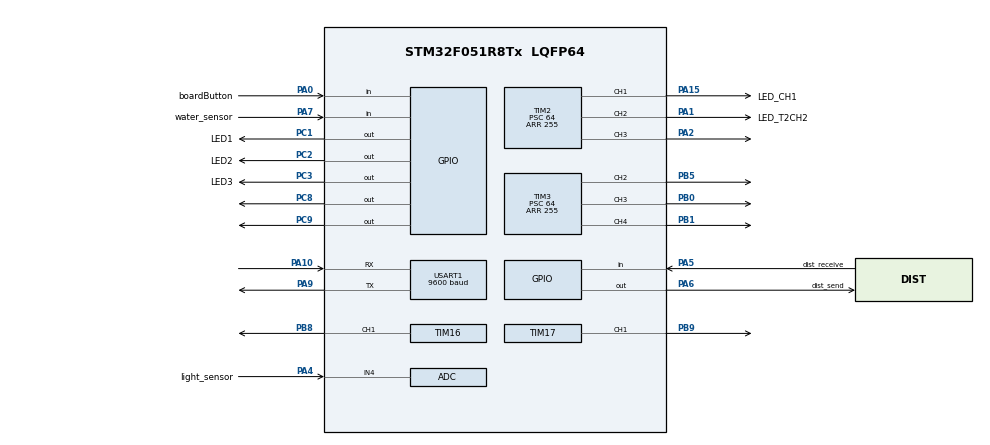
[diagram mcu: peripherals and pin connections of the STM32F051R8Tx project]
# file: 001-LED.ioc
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ADC.ClockPrescaler=ADC_CLOCK_SYNC_PCLK_DIV2
ADC.ContinuousConvMode=ENABLE
FREERTOS.Tasks01=defaultTask,0,128,StartDefaultTask,Default,NULL,Dynamic,NULL,NULL;waterSensor,0,128,StartWaterSensor,Default,NULL,Dynamic,NULL,NULL;lightSensor,0,128,StartLightSensor,Default,NULL,Dynamic,NULL,NULL;distanceSensor,0,128,StartDistSensor,Default,NULL,Dynamic,NULL,NULL;button,-3,128,StartButton,Default,NULL,Dynamic,NULL,NULL
FREERTOS.configTOTAL_HEAP_SIZE=3840
Mcu.Family=STM32F0
Mcu.Name=STM32F051R8Tx
Mcu.Package=LQFP64
NVIC.TIM1_BRK_UP_TRG_COM_IRQn=true\:0\:0\:false\:false\:true\:false\:false\:true
NVIC.TimeBase=TIM1_BRK_UP_TRG_COM_IRQn
NVIC.TimeBaseIP=TIM1
NVIC.USART1_IRQn=true\:0\:0\:false\:false\:true\:true\:true\:true
PA0.GPIO_Label=boardButton
PA0.Signal=GPIO_Input
PA1.GPIO_Label=LED_T2CH2
PA1.Signal=S_TIM2_CH2
PA10.Mode=Asynchronous
PA10.Signal=USART1_RX
PA13.Mode=Serial_Wire
PA13.Signal=SYS_SWDIO
PA14.Mode=Serial_Wire
PA14.Signal=SYS_SWCLK
PA15.GPIO_Label=LED_CH1
PA15.Signal=S_TIM2_CH1_ETR
PA2.Signal=S_TIM2_CH3
PA4.GPIO_Label=light_sensor
PA4.Signal=SharedAnalog_PA4
PA5.GPIO_Label=dist_receive
PA5.Signal=GPIO_Input
PA6.GPIO_Label=dist_send
PA6.Signal=GPIO_Output
PA7.GPIO_Label=water_sensor
PA7.Signal=GPIO_Input
PA9.Mode=Asynchronous
PA9.Signal=USART1_TX
PB0.Signal=S_TIM3_CH3
PB1.Signal=S_TIM3_CH4
PB5.Signal=S_TIM3_CH2
PB8.Signal=S_TIM16_CH1
PB9.Signal=S_TIM17_CH1
PC1.GPIO_Label=LED1
PC1.Signal=GPIO_Output
PC2.GPIO_Label=LED2
PC2.Signal=GPIO_Output
PC3.GPIO_Label=LED3
PC3.Signal=GPIO_Output
PC8.Signal=GPIO_Output
PC9.Signal=GPIO_Output
ProjectManager.HeapSize=0x200
ProjectManager.StackSize=0x400
ProjectManager.TargetToolchain=STM32CubeIDE
SH.S_TIM16_CH1.0=TIM16_CH1,PWM Generation1 CH1
SH.S_TIM17_CH1.0=TIM17_CH1,PWM Generation1 CH1
SH.S_TIM2_CH1_ETR.0=TIM2_CH1,PWM Generation1 CH1
SH.S_TIM2_CH2.0=TIM2_CH2,PWM Generation2 CH2
SH.S_TIM2_CH3.0=TIM2_CH3,PWM Generation3 CH3
SH.S_TIM3_CH2.0=TIM3_CH2,PWM Generation2 CH2
SH.S_TIM3_CH3.0=TIM3_CH3,PWM Generation3 CH3
SH.S_TIM3_CH4.0=TIM3_CH4,PWM Generation4 CH4
SH.SharedAnalog_PA4.0=GPIO_Analog
SH.SharedAnalog_PA4.1=ADC_IN4,IN4
TIM16.Channel=TIM_CHANNEL_1
TIM16.Period=255
TIM16.Prescaler=64
TIM16.Pulse=2
TIM17.Channel=TIM_CHANNEL_1
TIM17.Period=255
TIM17.Prescaler=64
TIM17.Pulse=2
TIM2.Channel-PWM\ Generation1\ CH1=TIM_CHANNEL_1
TIM2.Channel-PWM\ Generation2\ CH2=TIM_CHANNEL_2
TIM2.Channel-PWM\ Generation3\ CH3=TIM_CHANNEL_3
TIM2.Period=255
TIM2.Prescaler=64
TIM2.Pulse-PWM\ Generation1\ CH1=2
TIM2.Pulse-PWM\ Generation2\ CH2=2
TIM2.Pulse-PWM\ Generation3\ CH3=2
TIM3.Channel-PWM\ Generation2\ CH2=TIM_CHANNEL_2
TIM3.Channel-PWM\ Generation3\ CH3=TIM_CHANNEL_3
TIM3.Channel-PWM\ Generation4\ CH4=TIM_CHANNEL_4
TIM3.Period=255
TIM3.Prescaler=64
TIM3.Pulse-PWM\ Generation2\ CH2=2
TIM3.Pulse-PWM\ Generation3\ CH3=2
TIM3.Pulse-PWM\ Generation4\ CH4=2
USART1.BaudRate=9600
USART1.VirtualMode-Asynchronous=VM_ASYNC
VP_FREERTOS_VS_CMSIS_V1.Mode=CMSIS_V1
VP_SYS_VS_tim1.Mode=TIM1
VP_TIM16_VS_ClockSourceINT.Mode=Enable_Timer
VP_TIM17_VS_ClockSourceINT.Mode=Enable_Timer
board=custom

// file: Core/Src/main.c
/* USER CODE BEGIN Header */
/**
  ******************************************************************************
  * @file           : main.c
  * @brief          : Main program body
  ******************************************************************************
  * @attention
  *
  * <h2><center>&copy; Copyright (c) 2020 STMicroelectronics.
  * All rights reserved.</center></h2>
  *
  * This software component is licensed by ST under BSD 3-Clause license,
  * the "License"; You may not use this file except in compliance with the
  * License. You may obtain a copy of the License at:
  *                        opensource.org/licenses/BSD-3-Clause
  *
  ******************************************************************************
  */
/* USER CODE END Header */
#include "main.h"
#include "cmsis_os.h"

/* USER CODE BEGIN Includes */
#include "math.h"
#include "stdio.h"

/* USER CODE END Includes */

/* USER CODE BEGIN PD */
#define ADC_LightOn_VALUE 1500 //3V level = 2.5V*4095samples/5V
#define ADC_RainOn_VALUE 1000
#define MAX_DISTANCE 70 // cm
#define LIGHT_HYSTERESIS 100 //from 0 to 4095
#define DIST_HYSTERESIS 20

float light = 0;// from 0 to 1
float rain = 0;// from 0 to 1
float distance = 0;// from 0 to 1
int OPERATOR = 0;

const int delay_detectors = 20;//ms
const int delay_illumination = 1;//s

int led_power[7];
int led_max_power = 64;

int LED = 0;
/* USER CODE END PD */

ADC_HandleTypeDef hadc;

TIM_HandleTypeDef htim2;
TIM_HandleTypeDef htim3;
TIM_HandleTypeDef htim16;
TIM_HandleTypeDef htim17;

UART_HandleTypeDef huart1;

osThreadId defaultTaskHandle;
osThreadId waterSensorHandle;
osThreadId lightSensorHandle;
osThreadId distanceSensorHandle;
osThreadId buttonHandle;
/* USER CODE BEGIN PV */

uint8_t transmitBuffer[32];

/* USER CODE END PV */

void SystemClock_Config(void);
static void MX_GPIO_Init(void);
static void MX_ADC_Init(void);
static void MX_TIM2_Init(void);
static void MX_TIM3_Init(void);
static void MX_TIM16_Init(void);
static void MX_TIM17_Init(void);
static void MX_USART1_UART_Init(void);
void StartDefaultTask(void const * argument);
void StartWaterSensor(void const * argument);
void StartLightSensor(void const * argument);
void StartDistSensor(void const * argument);
void StartButton(void const * argument);

/* USER CODE BEGIN 0 */

//int _write(int file, char* ptr, int len){
//
//}

/* USER CODE END 0 */

int main(void)
{

  /* MCU Configuration--------------------------------------------------------*/

  /* Reset of all peripherals, Initializes the Flash interface and the Systick. */
  HAL_Init();

  /* Configure the system clock */
  SystemClock_Config();

  /* Initialize all configured peripherals */
  MX_GPIO_Init();
  MX_ADC_Init();
  MX_TIM2_Init();
  MX_TIM3_Init();
  MX_TIM16_Init();
  MX_TIM17_Init();
  MX_USART1_UART_Init();
  /* USER CODE BEGIN 2 */
  HAL_TIM_PWM_Start(&htim2, TIM_CHANNEL_1);
  HAL_TIM_PWM_Start(&htim2, TIM_CHANNEL_2);
  HAL_TIM_PWM_Start(&htim2, TIM_CHANNEL_3);

  HAL_TIM_PWM_Start(&htim3, TIM_CHANNEL_2);
  HAL_TIM_PWM_Start(&htim3, TIM_CHANNEL_3);
  HAL_TIM_PWM_Start(&htim3, TIM_CHANNEL_4);

  HAL_TIM_PWM_Start(&htim16, TIM_CHANNEL_1);
  HAL_TIM_PWM_Start(&htim17, TIM_CHANNEL_1);

  /* USER CODE END 2 */

  /* Create the thread(s) */
  /* definition and creation of defaultTask */
  osThreadDef(defaultTask, StartDefaultTask, osPriorityNormal, 0, 128);
  defaultTaskHandle = osThreadCreate(osThread(defaultTask), NULL);

  /* definition and creation of waterSensor */
  osThreadDef(waterSensor, StartWaterSensor, osPriorityNormal, 0, 128);
  waterSensorHandle = osThreadCreate(osThread(waterSensor), NULL);

  /* definition and creation of lightSensor */
  osThreadDef(lightSensor, StartLightSensor, osPriorityNormal, 0, 128);
  lightSensorHandle = osThreadCreate(osThread(lightSensor), NULL);

  /* definition and creation of distanceSensor */
  osThreadDef(distanceSensor, StartDistSensor, osPriorityNormal, 0, 128);
  distanceSensorHandle = osThreadCreate(osThread(distanceSensor), NULL);

  /* definition and creation of button */
  osThreadDef(button, StartButton, osPriorityIdle, 0, 128);
  buttonHandle = osThreadCreate(osThread(button), NULL);

  /* Start scheduler */
  osKernelStart();

  /* We should never get here as control is now taken by the scheduler */
  /* Infinite loop */
	while (1)
	{

	}
}

void SystemClock_Config(void)
{
  RCC_OscInitTypeDef RCC_OscInitStruct = {0};
  RCC_ClkInitTypeDef RCC_ClkInitStruct = {0};
  RCC_PeriphCLKInitTypeDef PeriphClkInit = {0};

  /** Initializes the RCC Oscillators according to the specified parameters
  * in the RCC_OscInitTypeDef structure.
  */
  RCC_OscInitStruct.OscillatorType = RCC_OSCILLATORTYPE_HSI;
  RCC_OscInitStruct.HSIState = RCC_HSI_ON;
  RCC_OscInitStruct.HSICalibrationValue = RCC_HSICALIBRATION_DEFAULT;
  RCC_OscInitStruct.PLL.PLLState = RCC_PLL_NONE;
  if (HAL_RCC_OscConfig(&RCC_OscInitStruct) != HAL_OK)
  {
    Error_Handler();
  }
  /** Initializes the CPU, AHB and APB buses clocks
  */
  RCC_ClkInitStruct.ClockType = RCC_CLOCKTYPE_HCLK|RCC_CLOCKTYPE_SYSCLK
                              |RCC_CLOCKTYPE_PCLK1;
  RCC_ClkInitStruct.SYSCLKSource = RCC_SYSCLKSOURCE_HSI;
  RCC_ClkInitStruct.AHBCLKDivider = RCC_SYSCLK_DIV1;
  RCC_ClkInitStruct.APB1CLKDivider = RCC_HCLK_DIV1;

  if (HAL_RCC_ClockConfig(&RCC_ClkInitStruct, FLASH_LATENCY_0) != HAL_OK)
  {
    Error_Handler();
  }
  PeriphClkInit.PeriphClockSelection = RCC_PERIPHCLK_USART1;
  PeriphClkInit.Usart1ClockSelection = RCC_USART1CLKSOURCE_PCLK1;
  if (HAL_RCCEx_PeriphCLKConfig(&PeriphClkInit) != HAL_OK)
  {
    Error_Handler();
  }
}

static void MX_ADC_Init(void)
{

  ADC_ChannelConfTypeDef sConfig = {0};

  /** Configure the global features of the ADC (Clock, Resolution, Data Alignment and number of conversion)
  */
  hadc.Instance = ADC1;
  hadc.Init.ClockPrescaler = ADC_CLOCK_SYNC_PCLK_DIV2;
  hadc.Init.Resolution = ADC_RESOLUTION_12B;
  hadc.Init.DataAlign = ADC_DATAALIGN_RIGHT;
  hadc.Init.ScanConvMode = ADC_SCAN_DIRECTION_FORWARD;
  hadc.Init.EOCSelection = ADC_EOC_SINGLE_CONV;
  hadc.Init.LowPowerAutoWait = DISABLE;
  hadc.Init.LowPowerAutoPowerOff = DISABLE;
  hadc.Init.ContinuousConvMode = ENABLE;
  hadc.Init.DiscontinuousConvMode = DISABLE;
  hadc.Init.ExternalTrigConv = ADC_SOFTWARE_START;
  hadc.Init.ExternalTrigConvEdge = ADC_EXTERNALTRIGCONVEDGE_NONE;
  hadc.Init.DMAContinuousRequests = DISABLE;
  hadc.Init.Overrun = ADC_OVR_DATA_PRESERVED;
  if (HAL_ADC_Init(&hadc) != HAL_OK)
  {
    Error_Handler();
  }
  /** Configure for the selected ADC regular channel to be converted.
  */
  sConfig.Channel = ADC_CHANNEL_4;
  sConfig.Rank = ADC_RANK_CHANNEL_NUMBER;
  sConfig.SamplingTime = ADC_SAMPLETIME_1CYCLE_5;
  if (HAL_ADC_ConfigChannel(&hadc, &sConfig) != HAL_OK)
  {
    Error_Handler();
  }

}

static void MX_TIM2_Init(void)
{

  TIM_MasterConfigTypeDef sMasterConfig = {0};
  TIM_OC_InitTypeDef sConfigOC = {0};

  htim2.Instance = TIM2;
  htim2.Init.Prescaler = 64;
  htim2.Init.CounterMode = TIM_COUNTERMODE_UP;
  htim2.Init.Period = 255;
  htim2.Init.ClockDivision = TIM_CLOCKDIVISION_DIV1;
  htim2.Init.AutoReloadPreload = TIM_AUTORELOAD_PRELOAD_DISABLE;
  if (HAL_TIM_PWM_Init(&htim2) != HAL_OK)
  {
    Error_Handler();
  }
  sMasterConfig.MasterOutputTrigger = TIM_TRGO_RESET;
  sMasterConfig.MasterSlaveMode = TIM_MASTERSLAVEMODE_DISABLE;
  if (HAL_TIMEx_MasterConfigSynchronization(&htim2, &sMasterConfig) != HAL_OK)
  {
    Error_Handler();
  }
  sConfigOC.OCMode = TIM_OCMODE_PWM1;
  sConfigOC.Pulse = 2;
  sConfigOC.OCPolarity = TIM_OCPOLARITY_HIGH;
  sConfigOC.OCFastMode = TIM_OCFAST_DISABLE;
  if (HAL_TIM_PWM_ConfigChannel(&htim2, &sConfigOC, TIM_CHANNEL_1) != HAL_OK)
  {
    Error_Handler();
  }
  if (HAL_TIM_PWM_ConfigChannel(&htim2, &sConfigOC, TIM_CHANNEL_2) != HAL_OK)
  {
    Error_Handler();
  }
  if (HAL_TIM_PWM_ConfigChannel(&htim2, &sConfigOC, TIM_CHANNEL_3) != HAL_OK)
  {
    Error_Handler();
  }
  HAL_TIM_MspPostInit(&htim2);

}

static void MX_TIM3_Init(void)
{

  TIM_MasterConfigTypeDef sMasterConfig = {0};
  TIM_OC_InitTypeDef sConfigOC = {0};

  htim3.Instance = TIM3;
  htim3.Init.Prescaler = 64;
  htim3.Init.CounterMode = TIM_COUNTERMODE_UP;
  htim3.Init.Period = 255;
  htim3.Init.ClockDivision = TIM_CLOCKDIVISION_DIV1;
  htim3.Init.AutoReloadPreload = TIM_AUTORELOAD_PRELOAD_DISABLE;
  if (HAL_TIM_PWM_Init(&htim3) != HAL_OK)
  {
    Error_Handler();
  }
  sMasterConfig.MasterOutputTrigger = TIM_TRGO_RESET;
  sMasterConfig.MasterSlaveMode = TIM_MASTERSLAVEMODE_DISABLE;
  if (HAL_TIMEx_MasterConfigSynchronization(&htim3, &sMasterConfig) != HAL_OK)
  {
    Error_Handler();
  }
  sConfigOC.OCMode = TIM_OCMODE_PWM1;
  sConfigOC.Pulse = 2;
  sConfigOC.OCPolarity = TIM_OCPOLARITY_HIGH;
  sConfigOC.OCFastMode = TIM_OCFAST_DISABLE;
  if (HAL_TIM_PWM_ConfigChannel(&htim3, &sConfigOC, TIM_CHANNEL_2) != HAL_OK)
  {
    Error_Handler();
  }
  if (HAL_TIM_PWM_ConfigChannel(&htim3, &sConfigOC, TIM_CHANNEL_3) != HAL_OK)
  {
    Error_Handler();
  }
  if (HAL_TIM_PWM_ConfigChannel(&htim3, &sConfigOC, TIM_CHANNEL_4) != HAL_OK)
  {
    Error_Handler();
  }
  HAL_TIM_MspPostInit(&htim3);

}

static void MX_TIM16_Init(void)
{

  TIM_OC_InitTypeDef sConfigOC = {0};
  TIM_BreakDeadTimeConfigTypeDef sBreakDeadTimeConfig = {0};

  htim16.Instance = TIM16;
  htim16.Init.Prescaler = 64;
  htim16.Init.CounterMode = TIM_COUNTERMODE_UP;
  htim16.Init.Period = 255;
  htim16.Init.ClockDivision = TIM_CLOCKDIVISION_DIV1;
  htim16.Init.RepetitionCounter = 0;
  htim16.Init.AutoReloadPreload = TIM_AUTORELOAD_PRELOAD_DISABLE;
  if (HAL_TIM_Base_Init(&htim16) != HAL_OK)
  {
    Error_Handler();
  }
  if (HAL_TIM_PWM_Init(&htim16) != HAL_OK)
  {
    Error_Handler();
  }
  sConfigOC.OCMode = TIM_OCMODE_PWM1;
  sConfigOC.Pulse = 2;
  sConfigOC.OCPolarity = TIM_OCPOLARITY_HIGH;
  sConfigOC.OCNPolarity = TIM_OCNPOLARITY_HIGH;
  sConfigOC.OCFastMode = TIM_OCFAST_DISABLE;
  sConfigOC.OCIdleState = TIM_OCIDLESTATE_RESET;
  sConfigOC.OCNIdleState = TIM_OCNIDLESTATE_RESET;
  if (HAL_TIM_PWM_ConfigChannel(&htim16, &sConfigOC, TIM_CHANNEL_1) != HAL_OK)
  {
    Error_Handler();
  }
  sBreakDeadTimeConfig.OffStateRunMode = TIM_OSSR_DISABLE;
  sBreakDeadTimeConfig.OffStateIDLEMode = TIM_OSSI_DISABLE;
  sBreakDeadTimeConfig.LockLevel = TIM_LOCKLEVEL_OFF;
  sBreakDeadTimeConfig.DeadTime = 0;
  sBreakDeadTimeConfig.BreakState = TIM_BREAK_DISABLE;
  sBreakDeadTimeConfig.BreakPolarity = TIM_BREAKPOLARITY_HIGH;
  sBreakDeadTimeConfig.AutomaticOutput = TIM_AUTOMATICOUTPUT_DISABLE;
  if (HAL_TIMEx_ConfigBreakDeadTime(&htim16, &sBreakDeadTimeConfig) != HAL_OK)
  {
    Error_Handler();
  }
  HAL_TIM_MspPostInit(&htim16);

}

static void MX_TIM17_Init(void)
{

  TIM_OC_InitTypeDef sConfigOC = {0};
  TIM_BreakDeadTimeConfigTypeDef sBreakDeadTimeConfig = {0};

  htim17.Instance = TIM17;
  htim17.Init.Prescaler = 64;
  htim17.Init.CounterMode = TIM_COUNTERMODE_UP;
  htim17.Init.Period = 255;
  htim17.Init.ClockDivision = TIM_CLOCKDIVISION_DIV1;
  htim17.Init.RepetitionCounter = 0;
  htim17.Init.AutoReloadPreload = TIM_AUTORELOAD_PRELOAD_DISABLE;
  if (HAL_TIM_Base_Init(&htim17) != HAL_OK)
  {
    Error_Handler();
  }
  if (HAL_TIM_PWM_Init(&htim17) != HAL_OK)
  {
    Error_Handler();
  }
  sConfigOC.OCMode = TIM_OCMODE_PWM1;
  sConfigOC.Pulse = 2;
  sConfigOC.OCPolarity = TIM_OCPOLARITY_HIGH;
  sConfigOC.OCNPolarity = TIM_OCNPOLARITY_HIGH;
  sConfigOC.OCFastMode = TIM_OCFAST_DISABLE;
  sConfigOC.OCIdleState = TIM_OCIDLESTATE_RESET;
  sConfigOC.OCNIdleState = TIM_OCNIDLESTATE_RESET;
  if (HAL_TIM_PWM_ConfigChannel(&htim17, &sConfigOC, TIM_CHANNEL_1) != HAL_OK)
  {
    Error_Handler();
  }
  sBreakDeadTimeConfig.OffStateRunMode = TIM_OSSR_DISABLE;
  sBreakDeadTimeConfig.OffStateIDLEMode = TIM_OSSI_DISABLE;
  sBreakDeadTimeConfig.LockLevel = TIM_LOCKLEVEL_OFF;
  sBreakDeadTimeConfig.DeadTime = 0;
  sBreakDeadTimeConfig.BreakState = TIM_BREAK_DISABLE;
  sBreakDeadTimeConfig.BreakPolarity = TIM_BREAKPOLARITY_HIGH;
  sBreakDeadTimeConfig.AutomaticOutput = TIM_AUTOMATICOUTPUT_DISABLE;
  if (HAL_TIMEx_ConfigBreakDeadTime(&htim17, &sBreakDeadTimeConfig) != HAL_OK)
  {
    Error_Handler();
  }
  HAL_TIM_MspPostInit(&htim17);

}

static void MX_USART1_UART_Init(void)
{

  huart1.Instance = USART1;
  huart1.Init.BaudRate = 9600;
  huart1.Init.WordLength = UART_WORDLENGTH_8B;
  huart1.Init.StopBits = UART_STOPBITS_1;
  huart1.Init.Parity = UART_PARITY_NONE;
  huart1.Init.Mode = UART_MODE_TX_RX;
  huart1.Init.HwFlowCtl = UART_HWCONTROL_NONE;
  huart1.Init.OverSampling = UART_OVERSAMPLING_16;
  huart1.Init.OneBitSampling = UART_ONE_BIT_SAMPLE_DISABLE;
  huart1.AdvancedInit.AdvFeatureInit = UART_ADVFEATURE_NO_INIT;
  if (HAL_UART_Init(&huart1) != HAL_OK)
  {
    Error_Handler();
  }

}

static void MX_GPIO_Init(void)
{
  GPIO_InitTypeDef GPIO_InitStruct = {0};

  /* GPIO Ports Clock Enable */
  __HAL_RCC_GPIOC_CLK_ENABLE();
  __HAL_RCC_GPIOA_CLK_ENABLE();
  __HAL_RCC_GPIOB_CLK_ENABLE();

  /*Configure GPIO pin Output Level */
  HAL_GPIO_WritePin(GPIOC, LED1_Pin|LED2_Pin|LED3_Pin|GPIO_PIN_8
                          |GPIO_PIN_9, GPIO_PIN_RESET);

  /*Configure GPIO pin Output Level */
  HAL_GPIO_WritePin(dist_send_GPIO_Port, dist_send_Pin, GPIO_PIN_RESET);

  /*Configure GPIO pins : LED1_Pin LED2_Pin LED3_Pin PC8
                           PC9 */
  GPIO_InitStruct.Pin = LED1_Pin|LED2_Pin|LED3_Pin|GPIO_PIN_8
                          |GPIO_PIN_9;
  GPIO_InitStruct.Mode = GPIO_MODE_OUTPUT_PP;
  GPIO_InitStruct.Pull = GPIO_NOPULL;
  GPIO_InitStruct.Speed = GPIO_SPEED_FREQ_LOW;
  HAL_GPIO_Init(GPIOC, &GPIO_InitStruct);

  /*Configure GPIO pins : boardButton_Pin dist_receive_Pin water_sensor_Pin */
  GPIO_InitStruct.Pin = boardButton_Pin|dist_receive_Pin|water_sensor_Pin;
  GPIO_InitStruct.Mode = GPIO_MODE_INPUT;
  GPIO_InitStruct.Pull = GPIO_NOPULL;
  HAL_GPIO_Init(GPIOA, &GPIO_InitStruct);

  /*Configure GPIO pin : dist_send_Pin */
  GPIO_InitStruct.Pin = dist_send_Pin;
  GPIO_InitStruct.Mode = GPIO_MODE_OUTPUT_PP;
  GPIO_InitStruct.Pull = GPIO_NOPULL;
  GPIO_InitStruct.Speed = GPIO_SPEED_FREQ_LOW;
  HAL_GPIO_Init(dist_send_GPIO_Port, &GPIO_InitStruct);

}

void StartDefaultTask(void const * argument)
{
  /* USER CODE BEGIN 5 */
  /* Infinite loop */
	float buffer1, buffer2;
	for(;;)
	{
		if(OPERATOR == 0){
			buffer2 = 2*fabsf(distance - 1);

			if(rain+3*light < 0.3 || distance > 1.1){
				LED = 0;
			} else {
				LED = (int)(led_max_power/8.0*powf(4.0,rain+3*light));
			}
//			LED = (int)(16*(rain+3*light));

			for(int i = 0; i < 8; i++){
				buffer1 = 2*fabsf(buffer2-(float)(i)/8.0);
				if(buffer1 < 0.5){
					led_power[i] = LED/powf(10000,buffer1*buffer1*buffer1);
				} else {
					led_power[i] = 0;
				}
			}

			TIM2->CCR1 = led_power[0];
			TIM2->CCR2 = led_power[1];
			TIM2->CCR3 = led_power[2];

			TIM3->CCR2 = led_power[3];
			TIM3->CCR3 = led_power[4];
			TIM3->CCR4 = led_power[5];

			TIM16->CCR1 = led_power[6];
			TIM17->CCR1 = led_power[7];
		}
		osDelay(10);
	}
  /* USER CODE END 5 */
}

void StartWaterSensor(void const * argument)
{
  /* USER CODE BEGIN StartWaterSensor */
  /* Infinite loop */
	for(;;)
	{
		if(HAL_GPIO_ReadPin(GPIOA, GPIO_PIN_7) == GPIO_PIN_SET && rain == 0){
			HAL_UART_Transmit(&huart1, "Rain started\n", 14, 1000);
			rain = 1;
			osDelay(100);
		} else if(HAL_GPIO_ReadPin(GPIOA, GPIO_PIN_7) == GPIO_PIN_RESET && rain == 1){
			HAL_UART_Transmit(&huart1, "Rain ended\n", 12, 1000);
			rain = 0;
		}

		osDelay(50);
	}
  /* USER CODE END StartWaterSensor */
}

void StartLightSensor(void const * argument)
{
  /* USER CODE BEGIN StartLightSensor */
  /* Infinite loop */
	int result;
	float step = 30;
	float buffer = 0;
	for(;;)
	{
		HAL_ADC_Start(&hadc);
		HAL_ADC_PollForConversion(&hadc, 100);
		result = HAL_ADC_GetValue(&hadc);
		HAL_ADC_Stop(&hadc);

		if(result - light*4096 > LIGHT_HYSTERESIS){
			if(light <= 1-step/4096)
				light += step/4096;
		} else if(light*4096 - result > LIGHT_HYSTERESIS){
			if(light >= step/4096)
				light -= step/4096;
		}

		if(light*4096 > 0.8*4096 + LIGHT_HYSTERESIS && buffer != 2){
			buffer = 2;
			HAL_UART_Transmit(&huart1, "Too bad visibility\n", 20, 1000);
		} else if(light*4096 > 0.2*4096 + LIGHT_HYSTERESIS && light*4096 < 0.8*4096 - LIGHT_HYSTERESIS && buffer != 1){
			buffer = 1;
			HAL_UART_Transmit(&huart1, "Low visibility\n", 16, 1000);
		} else if(light*4096 < 0.2*4096 - LIGHT_HYSTERESIS && buffer != 0){
			buffer = 0;
			HAL_UART_Transmit(&huart1, "Sunny day\n", 11, 1000);
		}

		osDelay(100);

	}
  /* USER CODE END StartLightSensor */
}

void StartDistSensor(void const * argument)
{
  /* USER CODE BEGIN StartDistSensor */
  /* Infinite loop */
	int counter_dist, counter1 = 0, counter2 = 0;
	float new_distance;
	int buffer = 0;
	float step = 0.5 / MAX_DISTANCE;
	for(;;)
	{
		counter_dist = 0;
		//10mcs impulse
		HAL_GPIO_WritePin (GPIOA, GPIO_PIN_6, GPIO_PIN_SET);
		for(int i = 0; i < 80; i++){
			asm("nop");
		}
		HAL_GPIO_WritePin (GPIOA, GPIO_PIN_6, GPIO_PIN_RESET);
		for(int i = 0; i < 8000; i++){
			if(HAL_GPIO_ReadPin(GPIOA, GPIO_PIN_5) == GPIO_PIN_SET){
				counter_dist++;
				break;
			}
		}
		while(HAL_GPIO_ReadPin(GPIOA, GPIO_PIN_5) == GPIO_PIN_SET){
			counter_dist++;
		}

		new_distance = counter_dist*step;
		if(new_distance - distance > DIST_HYSTERESIS*step){
			if(distance <= 1.2){
				distance += step;
			}
			if(new_distance > 1.0/29.0/step){
				if(counter1 <= 3){
					counter1++;
				} else{
					distance  = 1.1;
					counter1 = 0;
				}
			}

		} else if(distance - new_distance > DIST_HYSTERESIS*step){
			if(distance >= 0.5+step){
				distance -= step;
			}
//			if(distance - new_distance > 6*DIST_HYSTERESIS*step){
//				if(counter2 <= 2){
//					counter2++;
//				} else{
//					distance  = 0.55;
//					counter2 = 0;
//				}
//			}
		}

		if(buffer == 0 && distance > 1.05){
			buffer = 1;
			HAL_UART_Transmit(&huart1, "Nobody is on the street\n", 25, 1000);
		} else if(buffer == 1 && distance < 1){
			buffer = 0;
			HAL_UART_Transmit(&huart1, "Somebody is coming\n", 20, 1000);
		}

		osDelay(50);
	}
  /* USER CODE END StartDistSensor */
}

void StartButton(void const * argument)
{
  /* USER CODE BEGIN StartButton */
  /* Infinite loop */
	for(;;)
	{
		if(HAL_GPIO_ReadPin(GPIOA, GPIO_PIN_0) == GPIO_PIN_SET){
			osDelay(20);
			if(HAL_GPIO_ReadPin(GPIOA, GPIO_PIN_0) == GPIO_PIN_SET){
				switch(OPERATOR){
				case 0:
					OPERATOR = 1;
					HAL_UART_Transmit(&huart1, "Operator turned on the light\n", 30, 1000);
					osDelay(50);
					TIM2->CCR1 = led_max_power;
					TIM2->CCR2 = led_max_power;
					TIM2->CCR3 = led_max_power;

					TIM3->CCR2 = led_max_power;
					TIM3->CCR3 = led_max_power;
					TIM3->CCR4 = led_max_power;

					TIM16->CCR1 = led_max_power;
					TIM17->CCR1 = led_max_power;
					break;
				case 1:
					OPERATOR = 0;
					HAL_UART_Transmit(&huart1, "Operator turned off the light\n", 31, 1000);
					break;
				}
				while(1){
					if(HAL_GPIO_ReadPin(GPIOA, GPIO_PIN_0) == GPIO_PIN_RESET){
						osDelay(20);
						if(HAL_GPIO_ReadPin(GPIOA, GPIO_PIN_0) == GPIO_PIN_RESET)
							break;
					}
				}
			}
		}
		osDelay(1);
	}
  /* USER CODE END StartButton */
}

void HAL_TIM_PeriodElapsedCallback(TIM_HandleTypeDef *htim)
{
  if (htim->Instance == TIM1) {
    HAL_IncTick();
  }
}

void Error_Handler(void)
{
}

/************************ (C) COPYRIGHT STMicroelectronics *****END OF FILE****/
